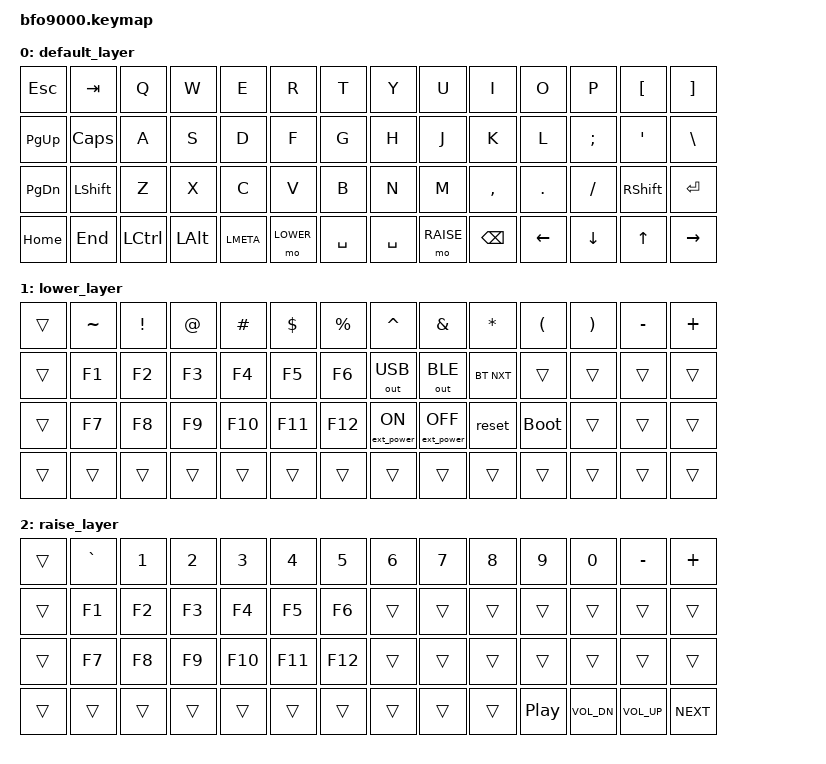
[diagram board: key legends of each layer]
/*
 * Copyright (c) 2020 The ZMK Contributors
 *
 * SPDX-License-Identifier: MIT
 */

#include <behaviors.dtsi>
#include <dt-bindings/zmk/keys.h>
#include <dt-bindings/zmk/bt.h>
#include <dt-bindings/zmk/outputs.h>
#include <dt-bindings/zmk/ext_power.h>
#include <dt-bindings/zmk/rgb.h>

#define DEFAULT 0
#define LOWER   1
#define RAISE   2

/ {
  keymap {
    compatible = "zmk,keymap";

    default_layer {
      // | Esc  | Tab   | Q    | W   | E   | R   | T   |   Y   | U   | I   | O   | P    | [     |   ]   |
      // | Pg Up| caps  | A    | S   | D   | F   | G   | H     | J   | K   | L   | ;    | '     |   \   |
      // | Pg dn| Shift | Z    | X   | C   | V   | B   | N     | M   | ,   | .   | /    | Shift | enter |
      // | Home | End   | Ctrl | Alt | cmd | lwr | Spc | spc   | rai | bks | left| down | up    | right |
      bindings = <
      &kp ESC       &kp TAB   &kp Q     &kp W    &kp E     &kp R     &kp T     &kp Y     &kp U     &kp I     &kp O    &kp P     &kp LBKT  &kp RBKT
      &kp PG_UP     &kp CAPS  &kp A     &kp S    &kp D     &kp F     &kp G     &kp H     &kp J     &kp K     &kp L    &kp SEMI  &kp APOS  &kp BACKSLASH
      &kp PAGE_DOWN &kp LSHFT &kp Z     &kp X    &kp C     &kp V     &kp B     &kp N     &kp M     &kp COMMA &kp DOT  &kp SLASH &kp RSHFT &kp ENTER
      &kp HOME      &kp END   &kp LCTRL &kp LALT &kp LMETA &mo LOWER &kp SPACE &kp SPACE &mo RAISE &kp BSPC &kp LEFT  &kp DOWN  &kp UP    &kp RIGHT
      >;
    };

    lower_layer {
      bindings = <
        &trans  &kp TILDE &kp EXCL  &kp AT    &kp HASH  &kp DLLR  &kp PRCNT &kp CARET        &kp AMPS          &kp STAR    &kp LPAR    &kp RPAR &kp MINUS &kp PLUS
        &trans  &kp F1    &kp F2    &kp F3    &kp F4    &kp F5    &kp F6    &out OUT_USB     &out OUT_BLE      &bt BT_NXT  &trans      &trans   &trans    &trans
        &trans  &kp F7    &kp F8    &kp F9    &kp F10   &kp F11   &kp F12   &ext_power EP_ON &ext_power EP_OFF &reset      &bootloader &trans   &trans    &trans
        &trans  &trans    &trans    &trans    &trans    &trans    &trans    &trans           &trans            &trans      &trans      &trans   &trans    &trans
      >;
    };

    raise_layer {
      bindings = <
        &trans &kp GRAVE &kp NUMBER_1 &kp NUMBER_2 &kp NUMBER_3 &kp NUMBER_4 &kp NUMBER_5 &kp NUMBER_6 &kp NUMBER_7 &kp NUMBER_8 &kp NUMBER_9 &kp NUMBER_0 &kp MINUS    &kp PLUS
        &trans &kp F1    &kp F2       &kp F3       &kp F4       &kp F5       &kp F6       &trans       &trans       &trans       &trans       &trans       &trans       &trans
        &trans &kp F7    &kp F8       &kp F9       &kp F10      &kp F11      &kp F12      &trans       &trans       &trans       &trans       &trans       &trans       &trans
        &trans &trans    &trans       &trans       &trans       &trans       &trans       &trans       &trans       &trans       &kp C_PP     &kp C_VOL_DN &kp C_VOL_UP &kp C_NEXT
      >;
    };
  };
};
